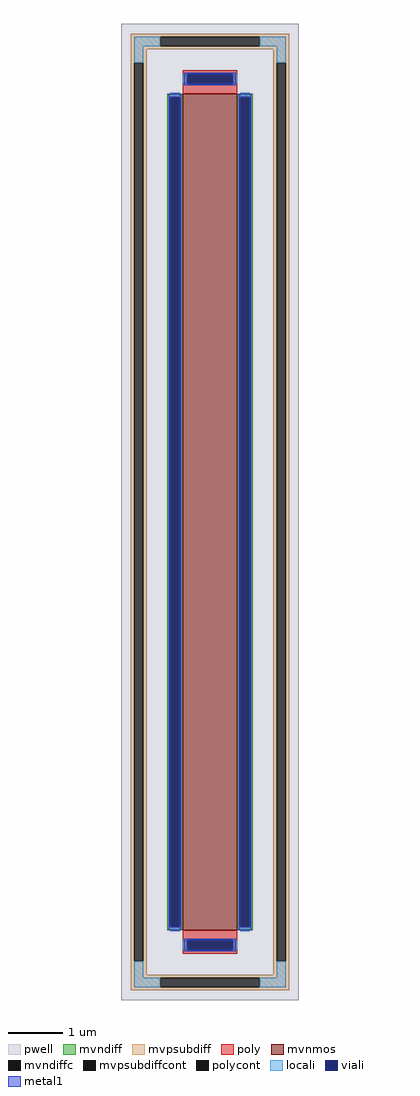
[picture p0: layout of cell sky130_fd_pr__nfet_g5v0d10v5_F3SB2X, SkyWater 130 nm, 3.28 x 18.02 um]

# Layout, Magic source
magic
tech sky130A
<< pwell >>
rect -164 -901 164 901
<< mvnmos >>
rect -50 -772 50 772
<< mvndiff >>
rect -79 766 -50 772
rect -79 -766 -73 766
rect -56 -766 -50 766
rect -79 -772 -50 -766
rect 50 766 79 772
rect 50 -766 56 766
rect 73 -766 79 766
rect 50 -772 79 -766
<< mvndiffc >>
rect -73 -766 -56 766
rect 56 -766 73 766
<< mvpsubdiff >>
rect -146 877 146 883
rect -146 860 -92 877
rect 92 860 146 877
rect -146 854 146 860
rect -146 829 -117 854
rect -146 -829 -140 829
rect -123 -829 -117 829
rect 117 829 146 854
rect -146 -854 -117 -829
rect 117 -829 123 829
rect 140 -829 146 829
rect 117 -854 146 -829
rect -146 -860 146 -854
rect -146 -877 -92 -860
rect 92 -877 146 -860
rect -146 -883 146 -877
<< mvpsubdiffcont >>
rect -92 860 92 877
rect -140 -829 -123 829
rect 123 -829 140 829
rect -92 -877 92 -860
<< poly >>
rect -50 808 50 816
rect -50 791 -42 808
rect 42 791 50 808
rect -50 772 50 791
rect -50 -791 50 -772
rect -50 -808 -42 -791
rect 42 -808 50 -791
rect -50 -816 50 -808
<< polycont >>
rect -42 791 42 808
rect -42 -808 42 -791
<< locali >>
rect -140 860 -92 877
rect 92 860 140 877
rect -140 829 -123 860
rect 123 829 140 860
rect -50 791 -42 808
rect 42 791 50 808
rect -73 766 -56 774
rect -73 -774 -56 -766
rect 56 766 73 774
rect 56 -774 73 -766
rect -50 -808 -42 -791
rect 42 -808 50 -791
rect -140 -860 -123 -829
rect 123 -860 140 -829
rect -140 -877 -92 -860
rect 92 -877 140 -860
<< viali >>
rect -42 791 42 808
rect -73 -766 -56 766
rect 56 -766 73 766
rect -42 -808 42 -791
<< metal1 >>
rect -48 808 48 811
rect -48 791 -42 808
rect 42 791 48 808
rect -48 788 48 791
rect -76 766 -53 772
rect -76 -766 -73 766
rect -56 -766 -53 766
rect -76 -772 -53 -766
rect 53 766 76 772
rect 53 -766 56 766
rect 73 -766 76 766
rect 53 -772 76 -766
rect -48 -791 48 -788
rect -48 -808 -42 -791
rect 42 -808 48 -791
rect -48 -811 48 -808
<< properties >>
string FIXED_BBOX -131 -868 131 868
string gencell sky130_fd_pr__nfet_g5v0d10v5
string library sky130
string parameters w 15.44 l 1.0 m 1 nf 1 diffcov 100 polycov 100 guard 1 glc 1 grc 1 gtc 1 gbc 1 tbcov 100 rlcov 100 topc 1 botc 1 poverlap 0 doverlap 1 lmin 0.50 wmin 0.42 compatible {sky130_fd_pr__nfet_01v8 sky130_fd_pr__nfet_01v8_lvt  sky130_fd_bs_flash__special_sonosfet_star  sky130_fd_pr__nfet_g5v0d10v5 sky130_fd_pr__nfet_05v0_nvt  sky130_fd_pr__nfet_03v3_nvt} full_metal 1 viasrc 100 viadrn 100 viagate 100 viagb 0 viagr 0 viagl 0 viagt 0
<< end >>
